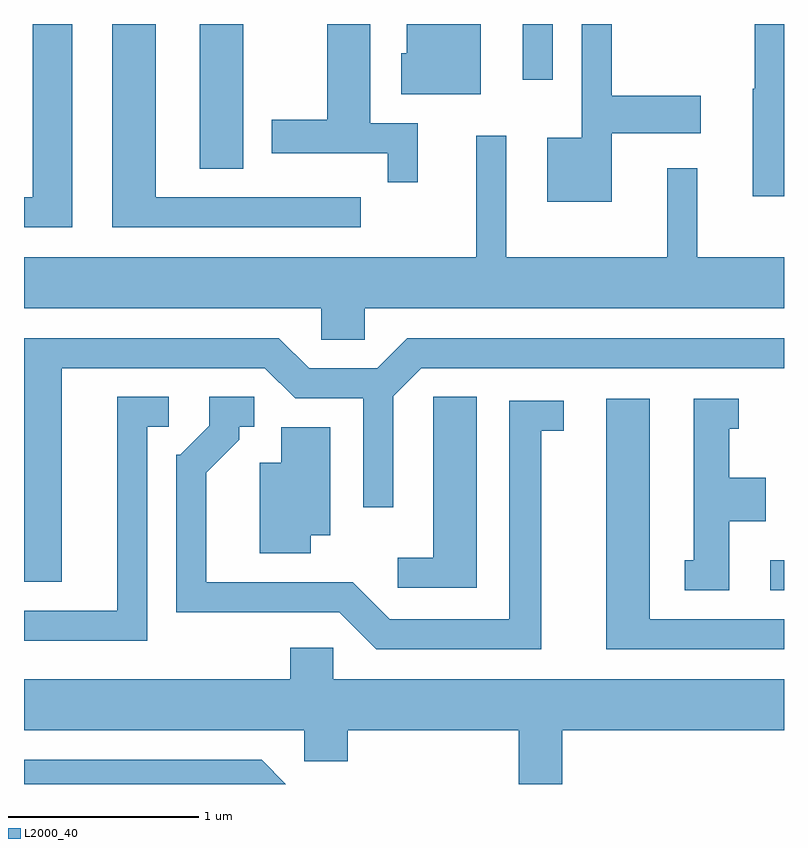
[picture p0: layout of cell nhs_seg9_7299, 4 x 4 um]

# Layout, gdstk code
import gdstk
lib = gdstk.Library(unit=1e-6, precision=1e-09)
def R(c, l, rs):  # rectangles x0, y0, x1, y1
    for r in rs: c.add(gdstk.rectangle(r[:2], r[2:], *l))
def P(c, l, *ps):  # polygons
    for p in ps: c.add(gdstk.Polygon(p, *l))
L2000_40 = (2000, 40)

nhs_seg9_7299 = lib.new_cell('nhs_seg9_7299')
R(nhs_seg9_7299, L2000_40, [(405.538,1981.451,405.611,1981.609), (402.536,1983.671,402.764,1984.432), (404.236,1984.138,404.394,1984.432)])
P(nhs_seg9_7299, L2000_40, [(401.864,1984.432),(401.656,1984.432),(401.656,1983.519),(401.611,1983.519),(401.611,1983.361),(401.864,1983.361)],
  [(404.704,1983.856),(405.174,1983.856),(405.174,1984.054),(404.704,1984.054),(404.704,1984.432),(404.546,1984.432),(404.546,1983.834),(404.366,1983.834),(404.366,1983.496),(404.704,1983.496)],
  [(403.684,1983.909),(403.434,1983.909),(403.434,1984.432),(403.206,1984.432),(403.206,1983.929),(402.916,1983.929),(402.916,1983.751),(403.526,1983.751),(403.526,1983.598),(403.684,1983.598)],
  [(404.014,1984.432),(403.626,1984.432),(403.626,1984.279),(403.596,1984.279),(403.596,1984.061),(404.014,1984.061)],
  [(405.611,1984.432),(405.456,1984.432),(405.456,1984.09),(405.446,1984.09),(405.446,1983.526),(405.611,1983.526)],
  [(403.383,1983.519),(402.304,1983.519),(402.304,1984.432),(402.076,1984.432),(402.076,1983.361),(403.383,1983.361)],
  [(403.404,1982.936),(405.611,1982.936),(405.611,1983.204),(405.154,1983.204),(405.154,1983.673),(404.996,1983.673),(404.996,1983.204),(404.149,1983.204),(404.149,1983.843),(403.991,1983.843),(403.991,1983.204),(401.611,1983.204),(401.611,1982.936),(403.176,1982.936),(403.176,1982.771),(403.404,1982.771)],
  [(401.809,1982.621),(402.879,1982.621),(403.039,1982.461),(403.396,1982.461),(403.396,1981.888),(403.554,1981.888),(403.554,1982.474),(403.702,1982.621),(405.611,1982.621),(405.611,1982.779),(403.629,1982.779),(403.469,1982.619),(403.112,1982.619),(402.952,1982.779),(401.611,1982.779),(401.611,1981.496),(401.809,1981.496)],
  [(404.334,1982.291),(404.453,1982.291),(404.453,1982.449),(404.166,1982.449),(404.166,1981.299),(403.537,1981.299),(403.342,1981.494),(402.569,1981.494),(402.569,1982.069),(402.744,1982.244),(402.744,1982.311),(402.823,1982.311),(402.823,1982.469),(402.586,1982.469),(402.586,1982.317),(402.434,1982.164),(402.411,1982.164),(402.411,1981.336),(403.269,1981.336),(403.464,1981.141),(404.334,1981.141)],
  [(403.994,1982.469),(403.766,1982.469),(403.766,1981.624),(403.578,1981.624),(403.578,1981.466),(403.994,1981.466)],
  [(402.259,1982.311),(402.373,1982.311),(402.373,1982.469),(402.101,1982.469),(402.101,1981.344),(401.611,1981.344),(401.611,1981.186),(402.259,1981.186)],
  [(405.324,1981.816),(405.514,1981.816),(405.514,1982.044),(405.324,1982.044),(405.324,1982.301),(405.373,1982.301),(405.373,1982.459),(405.136,1982.459),(405.136,1981.609),(405.088,1981.609),(405.088,1981.451),(405.324,1981.451)],
  [(405.611,1981.299),(404.904,1981.299),(404.904,1982.459),(404.676,1982.459),(404.676,1981.141),(405.611,1981.141)],
  [(403.119,1981.741),(403.224,1981.741),(403.224,1982.309),(402.966,1982.309),(402.966,1982.124),(402.851,1982.124),(402.851,1981.646),(403.119,1981.646)],
  [(403.086,1980.551),(403.314,1980.551),(403.314,1980.716),(404.216,1980.716),(404.216,1980.432),(404.444,1980.432),(404.444,1980.716),(405.611,1980.716),(405.611,1980.984),(403.239,1980.984),(403.239,1981.149),(403.011,1981.149),(403.011,1980.984),(401.611,1980.984),(401.611,1980.716),(403.086,1980.716)],
  [(402.862,1980.559),(401.611,1980.559),(401.611,1980.432),(402.989,1980.432)])

lib.write_gds('nhs_seg9_7299.gds')
